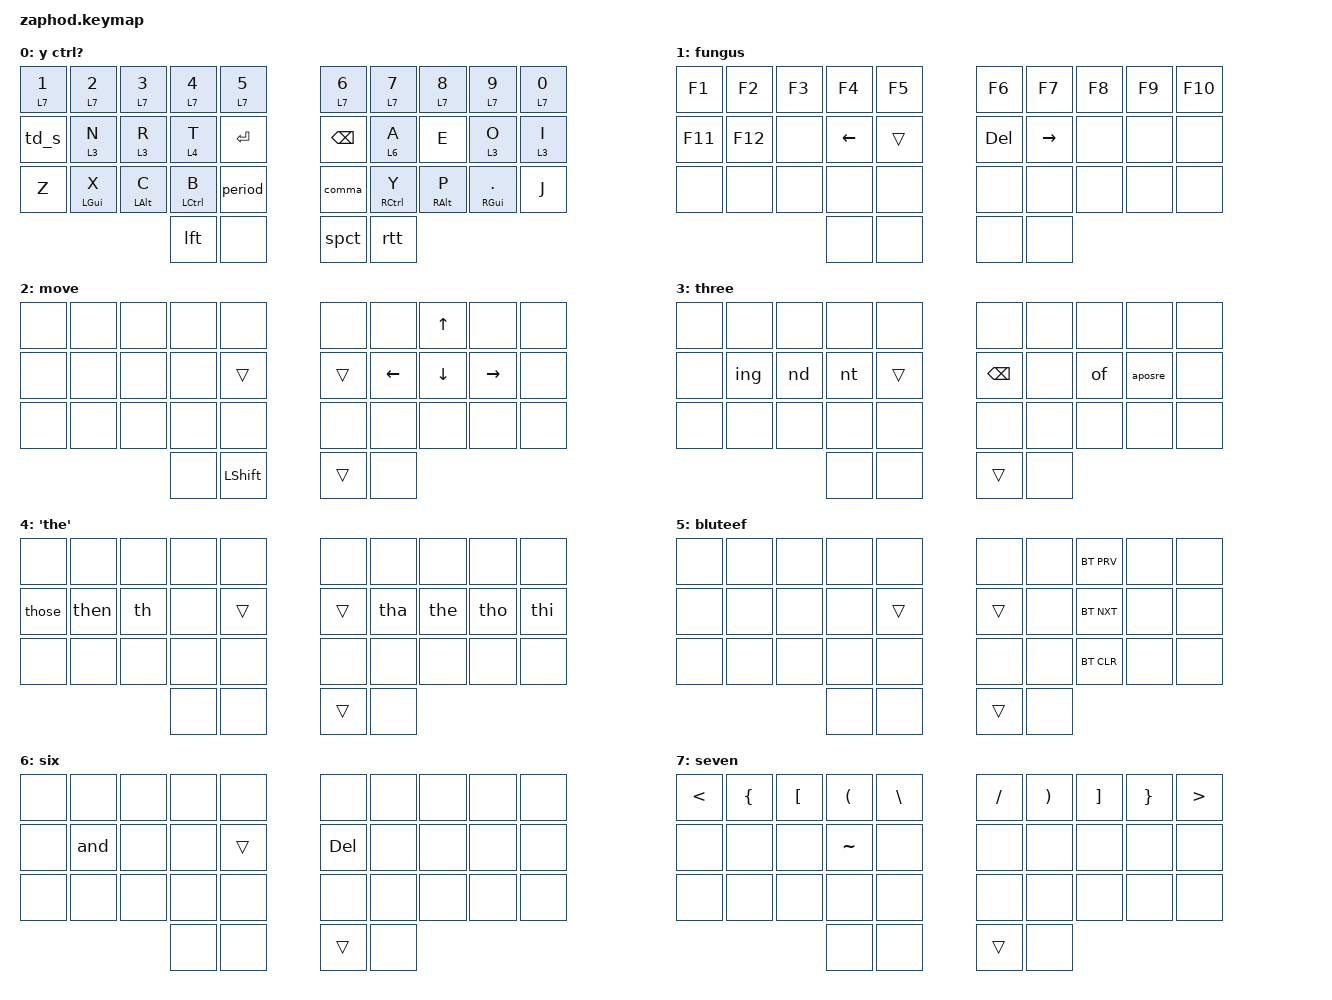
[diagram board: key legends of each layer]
/*
 *	QUICKWORD KEYBOARD v3.0
 *	Copyright (c) OCT 2024 Erik Kyren
 *
 *	Note: this keymap config is a prototype for QUICKWORD KEYBOARD(c) on ZMK firmware
 */
 
 /*
 * 	Copyright (c) 2021 Pete Johanson
 *
 * 	SPDX-License-Identifier: MIT
 */

#include <behaviors.dtsi>
#include <dt-bindings/zmk/keys.h>
#include <dt-bindings/zmk/bt.h>
#include <dt-bindings/zmk/outputs.h>


#define DEFAULT 0
#define ONE 1
#define TWO 2
#define THREE 3
#define FOUR 4
#define FIVE 5
#define SIX 6
#define SEVEN 7


// Macro to apply momentary-layer-on-hold/toggle-layer-on-tap to a specific layer

&lt { 	tapping-term-ms = <200>;
	quick-tap-ms = <115>;
    	global-quick-tap;
	retro-tap;
	};

&mt { 	tapping-term-ms = <185>;
	retro-tap;};



/ {

macros {

/// BIGRAMS TRIGRAMS WORDS AND SUFFIXES

            and: and {
                label = "and";
                compatible = "zmk,behavior-macro";
                #binding-cells = <0>;
                bindings
                =  <&macro_tap &kp A &kp N &kp D>;
            };

            the: the {
                label = "the";
                compatible = "zmk,behavior-macro";
                #binding-cells = <0>;
                bindings
                =  <&macro_tap &kp T &kp H &kp E>;
            };
			
	        th: th {
                label = "th";
                compatible = "zmk,behavior-macro";
                #binding-cells = <0>;
                bindings
                =  <&macro_tap &kp T &kp H>;
            };
             
            nt: nt {
                label = "nt";
                compatible = "zmk,behavior-macro";
                #binding-cells = <0>;
                bindings
                =  <&macro_tap &kp N &kp APOS &kp T>;
            };
             
            of: of {
                label = "of";
                compatible = "zmk,behavior-macro";
                #binding-cells = <0>;
                bindings
                =  <&macro_tap &kp O &kp F>;
            };             

			nd: nd {
                label = "nd";
                compatible = "zmk,behavior-macro";
                #binding-cells = <0>;
                bindings
                =  <&macro_tap &kp N &kp D>;
            };

            ing: ing {
                label = "ing";
                compatible = "zmk,behavior-macro";
                #binding-cells = <0>;
                bindings
                =  <&macro_tap &kp I &kp N &kp G>;
            };

            there: there {
                label = "there";
                compatible = "zmk,behavior-macro";
                #binding-cells = <0>;
                bindings
                =  <&macro_tap &kp T &kp H &kp E &kp R &kp E>;
            };

            their: their {
                label = "their";
                compatible = "zmk,behavior-macro";
                #binding-cells = <0>;
                bindings
                =  <&macro_tap &kp T &kp H &kp E &kp I &kp R>;
            };

            they: they {
                label = "they";
                compatible = "zmk,behavior-macro";
                #binding-cells = <0>;
                bindings
                =  <&macro_tap &kp T &kp H &kp E &kp Y>;
            };

            then: then {
                label = "then";
                compatible = "zmk,behavior-macro";
                #binding-cells = <0>;
                bindings
                =  <&macro_tap &kp T &kp H &kp E &kp N>;
            };

            tha: tha {
                label = "tha";
                compatible = "zmk,behavior-macro";
                #binding-cells = <0>;
                bindings
                =  <&macro_tap &kp T &kp H &kp A>;
            };

            tho: tho {
                label = "tho";
                compatible = "zmk,behavior-macro";
                #binding-cells = <0>;
                bindings
                =  <&macro_tap &kp T &kp H &kp O>;
            };
			
            thi: thi {
                label = "thi";
                compatible = "zmk,behavior-macro";
                #binding-cells = <0>;
                bindings
                =  <&macro_tap &kp T &kp H &kp I>;
            };

            those: those {
                label = "those";
                compatible = "zmk,behavior-macro";
                #binding-cells = <0>;
                bindings
                =  <&macro_tap &kp T &kp H &kp O &kp S &kp E>;
            };

            aposre: aposre {
                label = "aposre";
                compatible = "zmk,behavior-macro";
                #binding-cells = <0>;
                bindings
                =  <&macro_tap &kp APOS &kp R &kp E>;
            };

            aposve: aposve {
                label = "aposve";
                compatible = "zmk,behavior-macro";
                #binding-cells = <0>;
                bindings
                =  <&macro_tap &kp APOS &kp V &kp E>;
            };

            aposs: aposs {
                label = "aposs";
                compatible = "zmk,behavior-macro";
                #binding-cells = <0>;
                bindings
                =  <&macro_tap &kp APOS &kp S>;
            };

            aposm: aposm {
                label = "aposm";
                compatible = "zmk,behavior-macro";
                #binding-cells = <0>;
                bindings
                =  <&macro_tap &kp APOS &kp M>;
            };

            aposd: aposd {
                label = "aposd";
                compatible = "zmk,behavior-macro";
                #binding-cells = <0>;
                bindings
                =  <&macro_tap &kp APOS &kp D>;
            };

/// USEFUL COMMANDS

	copy: copy {
		label= "copy";
		compatible = "zmk,behavior-macro";
		#binding-cells = <0>;
		bindings
		=  <&macro_tap &kp LC(C)>;
	};

	cut: cut {
		label= "cut";
		compatible = "zmk,behavior-macro";
		#binding-cells = <0>;
		bindings
		=  <&macro_tap &kp LC(X)>;
	};
	
	paste: paste {
		label= "paste";
		compatible = "zmk,behavior-macro";
		#binding-cells = <0>;
		bindings
		=  <&macro_tap &kp LC(V)>;
	};

	undo: undo {
		label= "undo";
		compatible = "zmk,behavior-macro";
		#binding-cells = <0>;
		bindings
		=  <&macro_tap &kp LC(Z)>;
	};

	redo: redo {
		label= "redo";
		compatible = "zmk,behavior-macro";
		#binding-cells = <0>;
		bindings
		=  <&macro_tap &kp LC(Y)>;
	};

	homeshft: homeshft {
		label= "homeshft";
		compatible = "zmk,behavior-macro";
		#binding-cells = <0>;
		bindings
		=  <&macro_tap &kp LS(HOME)>;
	};

	endshft: endshft {
		label= "closeit";
		compatible = "zmk,behavior-macro";
		#binding-cells = <0>;
		bindings
		=  <&macro_tap &kp LS(END)>;
	};

	closeit: closeit {
		label= "closeit";
		compatible = "zmk,behavior-macro";
		#binding-cells = <0>;
		bindings
		=  <&macro_tap &kp LC(W)>;
	};

	screen: screen {
		label= "screen";
		compatible = "zmk,behavior-macro";
		#binding-cells = <0>;
		bindings
		=  <&macro_press &kp LGUI &kp RSHFT>
		, <&macro_tap &kp S>
		, <&macro_release &kp LGUI &kp RSHFT>;
	};

	selectall: selectall {
		label= "selectall";
		compatible = "zmk,behavior-macro";
		#binding-cells = <0>;
		bindings
		=  <&macro_tap &kp LC(A)>;
	};

	altab: altab {
		label= "altab";
		compatible = "zmk,behavior-macro";
		#binding-cells = <0>;
		bindings
		=  <&macro_press &mo 1 &kp LALT>
		, <&macro_tap &kp TAB>
		, <&macro_pause_for_release>
		, <&macro_release &mo 1 &kp LALT>;
	};
	

	
 };






combos {
	compatible = "zmk,combos";


            ///COMBO_CODES
            ///by: Erik Kyren
            ///OCT 2024  

///LEFT HAND HOMEROW CHORDS - D H L V M


	d_combo {
                timeout-ms = <60>;
                key-positions = <11 12>;
                bindings = <&td_d>;
            };

	h_combo {
                timeout-ms = <60>;
                key-positions = <12 13>;
                bindings = <&kp H>;
            };

	l_combo {
                timeout-ms = <60>;
                key-positions = <11 13>;
                bindings = <&kp L>;
            };

	v_combo {
                timeout-ms = <60>;
                key-positions = <10 13>;
                bindings = <&td_v>;
            };

	m_combo {
                timeout-ms = <60>;
                key-positions = <11 12 13>;
                bindings = <&td_m>;
            };


///RIGHT HAND HOMEROW CHORDS 

	k_combo {
                timeout-ms = <60>;
                key-positions = <16 17>;
                bindings = <&kp K>;
	};

	f_combo {
                timeout-ms = <60>;
                key-positions = <17 18>;
                bindings = <&kp F>;
	};

	g_combo {
                timeout-ms = <85>;
                key-positions = <16 18>;
                bindings = <&kp G>;
	};

	u_combo {
                timeout-ms = <85>;
                key-positions = <16 19>;
                bindings = <&lt 3 U>;
	};

	w_combo {
                timeout-ms = <85>;
                key-positions = <16 17 18>;
                bindings = <&kp W>;
	};


///CHORDS FOR SYMBOLS




	dollar_combo {
                timeout-ms = <60>;
                key-positions = <1 2>;
                bindings = <&kp DLLR>;
            };

	at_combo {
                timeout-ms = <60>;
                key-positions = <2 3>;
                bindings = <&kp AT>;
            };

	hypen_combo {
                timeout-ms = <60>;
                key-positions = <6 7>;
                bindings = <&kp MINUS>;
            };

	underscore_combo {
                timeout-ms = <60>;
                key-positions = <7 8>;
                bindings = <&kp UNDER>;
            };

	plus_combo {
                timeout-ms = <60>;
                key-positions = <8 9>;
                bindings = <&kp PLUS>;
            };

	bang_combo {
                timeout-ms = <60>;
                key-positions = <3 6>;
                bindings = <&kp EXCL>;
            };

	apos_combo {
                timeout-ms = <60>;
                key-positions = <13 16>;
	                bindings = <&kp APOS>;
	};

	quote_combo {
                timeout-ms = <60>;
                key-positions = <10 19>;
                bindings = <&kp DQT>;
            };

/// CHORDS FOR CONTROL

	escape_combo {
                timeout-ms = <60>;
                key-positions = <0 1>;
                bindings = <&gresc>;
            };
			
	thumb_combo {
                timeout-ms = <60>;
                key-positions = <30 33>;
                bindings = <&altab>;
            };
			
	bluteef_combo {
                timeout-ms = <60>;
                key-positions = <0 9 20 29>;
                bindings = <&tog 5>;
            };
};



behaviors {

            ///BEHAVIORS
            ///by: Erik Kyren
            ///OCT 2024


        td_x: tap_dance_x {
                compatible = "zmk,behavior-tap-dance";
                label = "TAP_DANCE_X";
                #binding-cells = <0>;
                tapping-term-ms = <260>;
                bindings = <&kp X>, <&kp EXCL>;
	};

        td_s: tap_dance_s {
                compatible = "zmk,behavior-tap-dance";
                label = "TAP_DANCE_S";
                #binding-cells = <0>;
                tapping-term-ms = <260>;
                bindings = <&kp S>, <&aposs>;
	};

        td_m: tap_dance_m {
                compatible = "zmk,behavior-tap-dance";
                label = "TAP_DANCE_M";
                #binding-cells = <0>;
                tapping-term-ms = <360>;
                bindings = <&kp M>, <&aposm>;
	};

        td_v: tap_dance_v {
                compatible = "zmk,behavior-tap-dance";
                label = "TAP_DANCE_V";
                #binding-cells = <0>;
                tapping-term-ms = <360>;
                bindings = <&kp V>, <&aposve>;
	};


        td_d: tap_dance_d {
                compatible = "zmk,behavior-tap-dance";
                label = "TAP_DANCE_D";
                #binding-cells = <0>;
                tapping-term-ms = <260>;
                bindings = <&kp D>, <&aposd>;
	};
	
        td_k: tap_dance_k {
                compatible = "zmk,behavior-tap-dance";
                label = "TAP_DANCE_KZ";
                #binding-cells = <0>;
                tapping-term-ms = <360>;
                bindings = <&kp K>, <&kp Z>;
	};

        td_q: tap_dance_q {
                compatible = "zmk,behavior-tap-dance";
                label = "TAP_DANCE_Q";
                #binding-cells = <0>;
                tapping-term-ms = <360>;
                bindings = <&kp Q>, <&kp QMARK>;
	};

        td_dot: tap_dance_dot {
                compatible = "zmk,behavior-tap-dance";
                label = "TAP_DANCE_DOT";
                #binding-cells = <0>;
                tapping-term-ms = <360>;
                bindings = <&kp PERIOD>, <&kp COMMA>;
	};

        td_their: tap_dance_their {
                compatible = "zmk,behavior-tap-dance";
                label = "TAP_DANCE_THEIR";
                #binding-cells = <0>;
                tapping-term-ms = <360>;
                bindings = <&their>, <&there>;
	};

        lft: left_thumb {
            compatible = "zmk,behavior-mod-morph";
            #binding-cells = <0>;
            bindings = <&kp LSHFT>, <&kp HOME>;
            mods = <(MOD_RSFT|MOD_LCTL)>;
			keep-mods = <(MOD_RSFT)>;
    };
		
		rtt: right_thumb {
            compatible = "zmk,behavior-mod-morph";
            #binding-cells = <0>;
            bindings = <&kp RSHFT>, <&kp END>;
            mods = <(MOD_LSFT|MOD_RCTL)>;
			keep-mods = <(MOD_LSFT)>;
    };
		
		spct: space_tab {
            compatible = "zmk,behavior-mod-morph";
            #binding-cells = <0>;
            bindings = <&kp SPACE>, <&kp TAB>;
            mods = <(MOD_LSFT|MOD_LCTL|MOD_LALT|MOD_RSFT|MOD_RCTL|MOD_RALT)>;
            keep-mods = <(MOD_LCTL|MOD_LALT|MOD_RSFT|MOD_RCTL|MOD_RALT)>;
    };
	
	    gresc: grave_escape {
            compatible = "zmk,behavior-mod-morph";
            #binding-cells = <0>;
            bindings = <&kp ESC>, <&kp GRAVE>;
            mods = <(MOD_LSFT|MOD_RSFT)>;
    };
	
	    period: period_colon {
            compatible = "zmk,behavior-mod-morph";
            #binding-cells = <0>;
            bindings = <&kp PERIOD>, <&kp COLON>;
            mods = <(MOD_LSFT|MOD_RSFT)>;
    };
	
	    comma: comma_semi {
            compatible = "zmk,behavior-mod-morph";
            #binding-cells = <0>;
            bindings = <&kp COMMA>, <&kp SEMI>;
            mods = <(MOD_LSFT|MOD_RSFT)>;
    };
};



keymap {
	compatible = "zmk,keymap";
        default {
            label = "y ctrl?";
			bindings = <
				&lt 7 N1	&lt 7 N2   	&lt 7 N3	&lt 7 N4	&lt 7 N5    	&lt 7 N6  	&lt 7 N7 	&lt 7 N8	&lt 7 N9	&lt 7 N0		
				&td_s	    	&lt 3 N		&lt 3 R		&lt 4 T		&kp ENTER	&kp BSPC	&lt 6 A   	&kp E		&lt 3 O		&lt 3 I
				&kp Z   	&mt LGUI X	&mt LALT C	&mt LCTRL B		&period  	&comma		&mt RCTRL Y		&mt RALT P	&mt RGUI DOT	&kp J
										&lft		&none		&spct		&rtt		
			>;
		};
 
        one {
            label = "fungus";
			bindings = <
				&kp F1		&kp F2		&kp F3		&kp F4		&kp F5		&kp F6		&kp F7		&kp F8		&kp F9		&kp F10
				&kp F11		&kp F12		&none		&kp LEFT	&trans		&kp DEL		&kp RIGHT	&none		&none		&none		
				&none		&none		&none		&none		&none		&none		&none		&none		&none		&none	
										&none		&none		&none		&none
			>;
		};

        two {
            label = "move";
			bindings = <
				&none		&none		&none		&none		&none		&none		&none		&kp UP		&none		&none	
				&none		&none 		&none		&none		&trans		&trans		&kp LEFT	&kp DOWN	&kp RIGHT	&none	
				&none		&none		&none		&none		&none		&none		&none		&none		&none		&none	
										&none		&kp LSHFT	&trans		&none
			>;
		};

        three {
            label = "three";
			bindings = <
				&none		&none		&none		&none		&none		&none	   	&none		&none		&none		&none	
				&none		&ing		&nd		&nt		&trans		&kp BSPC		&none		&of		&aposre		&none		
				&none		&none		&none		&none		&none		&none		&none		&none		&none		&none	
										&none		&none		&trans		&none
			>;
		};

        four {
            label = "'the'";
			bindings = <
				&none		&none		&none		&none		&none		&none	   	&none		&none		&none		&none	
				&those		&then		&th		&none		&trans		&trans		&tha	   	&the		&tho		&thi	
				&none		&none		&none		&none		&none		&none		&none		&none		&none		&none	
										&none		&none		&trans		&none	
			>;
		};

        five {
            label = "bluteef";
			bindings = <
				&none		&none		&none		&none		&none		&none	   	&none		&bt BT_PRV	&none		&none	
				&none		&none		&none		&none		&trans		&trans		&none	   	&bt BT_NXT	&none		&none	
				&none		&none		&none		&none		&none		&none		&none		&bt BT_CLR	&none		&none	
										&none		&none		&trans		&none
			>;
		};

        six {
            label = "six";
			bindings = <
				&none		&none		&none		&none		&none		&none	   	&none		&none		&none		&none	
				&none		&and		&none		&none		&trans		&kp DEL		&none		&none		&none		&none	
				&none		&none		&none		&none		&none		&none		&none		&none		&none		&none	
										&none		&none		&trans		&none
			>;
		};

        seven {
            label = "seven";
			bindings = <
				&kp LT		&kp LBRC	&kp LBKT	&kp LPAR	&kp BSLH	&kp FSLH  	&kp RPAR	&kp RBKT	&kp RBRC	&kp GT	
				&none		&none		&none		&kp TILDE	&none		&none		&none		&none		&none		&none		
				&none		&none		&none		&none		&none		&none		&none		&none		&none		&none		
										&none		&none		&trans		&none
			>;
		};
};
};
